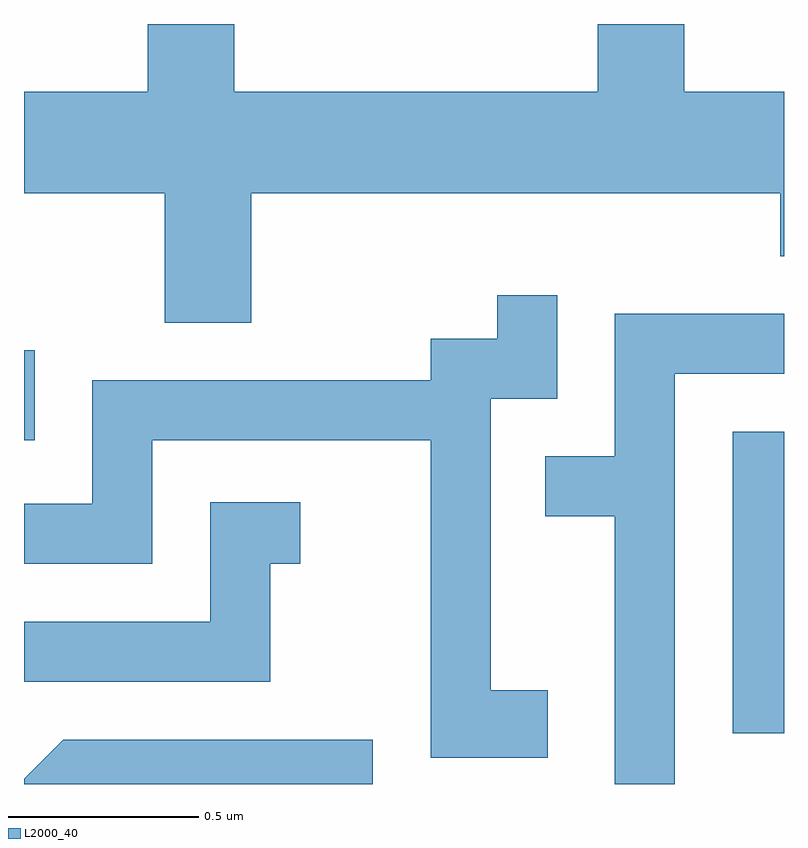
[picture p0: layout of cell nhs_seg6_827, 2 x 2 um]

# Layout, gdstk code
import gdstk
lib = gdstk.Library(unit=1e-6, precision=1e-09)
def R(c, l, rs):  # rectangles x0, y0, x1, y1
    for r in rs: c.add(gdstk.rectangle(r[:2], r[2:], *l))
def P(c, l, *ps):  # polygons
    for p in ps: c.add(gdstk.Polygon(p, *l))
L2000_40 = (2000, 40)

nhs_seg6_827 = lib.new_cell('nhs_seg6_827')
R(nhs_seg6_827, L2000_40, [(193.476,1535.296,193.611,1536.089), (191.611,1536.066,191.639,1536.303)])
P(nhs_seg6_827, L2000_40, [(192.209,1536.716),(193.601,1536.716),(193.601,1536.551),(193.611,1536.551),(193.611,1536.984),(193.349,1536.984),(193.349,1537.162),(193.121,1537.162),(193.121,1536.984),(192.164,1536.984),(192.164,1537.162),(191.936,1537.162),(191.936,1536.984),(191.611,1536.984),(191.611,1536.716),(191.981,1536.716),(191.981,1536.376),(192.209,1536.376)],
  [(192.989,1535.409),(192.839,1535.409),(192.839,1536.176),(193.014,1536.176),(193.014,1536.448),(192.856,1536.448),(192.856,1536.334),(192.681,1536.334),(192.681,1536.224),(191.791,1536.224),(191.791,1535.899),(191.611,1535.899),(191.611,1535.741),(191.949,1535.741),(191.949,1536.066),(192.681,1536.066),(192.681,1535.231),(192.989,1535.231)],
  [(193.324,1536.241),(193.611,1536.241),(193.611,1536.399),(193.166,1536.399),(193.166,1536.024),(192.983,1536.024),(192.983,1535.866),(193.166,1535.866),(193.166,1535.162),(193.324,1535.162)],
  [(192.259,1535.741),(192.338,1535.741),(192.338,1535.904),(192.101,1535.904),(192.101,1535.589),(191.611,1535.589),(191.611,1535.431),(192.259,1535.431)],
  [(192.529,1535.279),(191.714,1535.279),(191.611,1535.176),(191.611,1535.162),(192.529,1535.162)])

lib.write_gds('nhs_seg6_827.gds')
